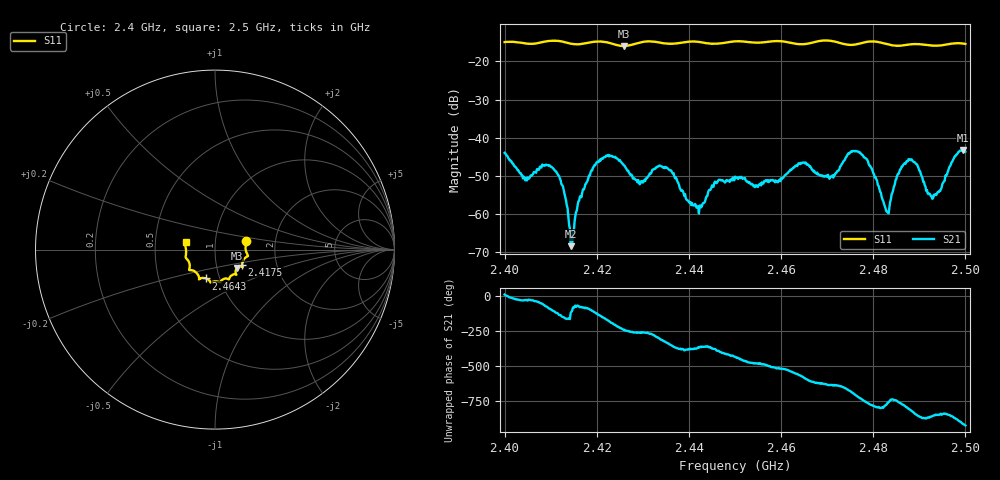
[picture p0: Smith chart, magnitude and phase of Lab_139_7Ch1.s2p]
# Hz S RI R 50
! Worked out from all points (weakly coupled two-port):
!   601 points, 2.4 GHz to 2.5 GHz, reference 50 ohm
!   highest |S21| = -43.23 dB at 2.4995 GHz (marker M1); lowest = -68.5 dB at 2.4143 GHz (marker M2)
!   lowest |S11| = -16.0 dB at 2.4258 GHz (marker M3), VSWR 1.38, Z = 62.3 - j13.1 ohm
!   |S11| at or under -10 dB: start of sweep to end of sweep
!   S12 and S22 are empty: the file has one direction only
!   S11 on the Smith chart (normalised r, x): 2.4 GHz: 1.41, +0.14; 2.4175 GHz: 1.33, -0.23; 2.4643 GHz: 0.86, -0.28; 2.5 GHz: 0.72, +0.06
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2.4e9  0.1729 0.0484  0.00615 0.00143  0 0  0 0
2.4045e9  0.1711 0.0209  0.00246 -0.00123  0 0  0 0
2.410833e9  0.1842 -0.0354  -0.00124 -0.00353  0 0  0 0
2.412833e9  0.1763 -0.0401  -0.00178 -0.000998  0 0  0 0
2.414333e9  0.1642 -0.049  -0.000183 -0.000328  0 0  0 0
2.416667e9  0.1524 -0.0741  0.000381 -0.00161  0 0  0 0
2.4175e9  0.1513 -0.0836  0.000391 -0.00239  0 0  0 0
2.422e9  0.1519 -0.0953  -0.0056 -0.0015  0 0  0 0
2.425833e9  0.1218 -0.1027  -0.00214 0.00379  0 0  0 0
2.429667e9  0.1166 -0.1355  -0.000357 0.00267  0 0  0 0
2.433333e9  0.1135 -0.1374  0.00191 0.00372  0 0  0 0
2.442167e9  0.0739 -0.1645  0.000999 -0.000147  0 0  0 0
2.45e9  0.0285 -0.1814  0.000858 -0.00296  0 0  0 0
2.464333e9  -0.0497 -0.1607  -0.004 0.00241  0 0  0 0
2.466667e9  -0.0761 -0.1588  -0.00114 0.00364  0 0  0 0
2.471e9  -0.0881 -0.1634  0.000241 0.00307  0 0  0 0
2.476667e9  -0.1235 -0.1162  0.00657 -3.64e-05  0 0  0 0
2.483333e9  -0.1405 -0.0897  0.000772 -0.000653  0 0  0 0
2.487167e9  -0.156 -0.0536  0.00126 -0.00466  0 0  0 0
2.493167e9  -0.1606 -0.0123  -0.00124 -0.00128  0 0  0 0
2.4995e9  -0.1669 0.0404  -0.00664 0.00186  0 0  0 0
2.5e9  -0.1642 0.0433  -0.00588 0.00284  0 0  0 0
